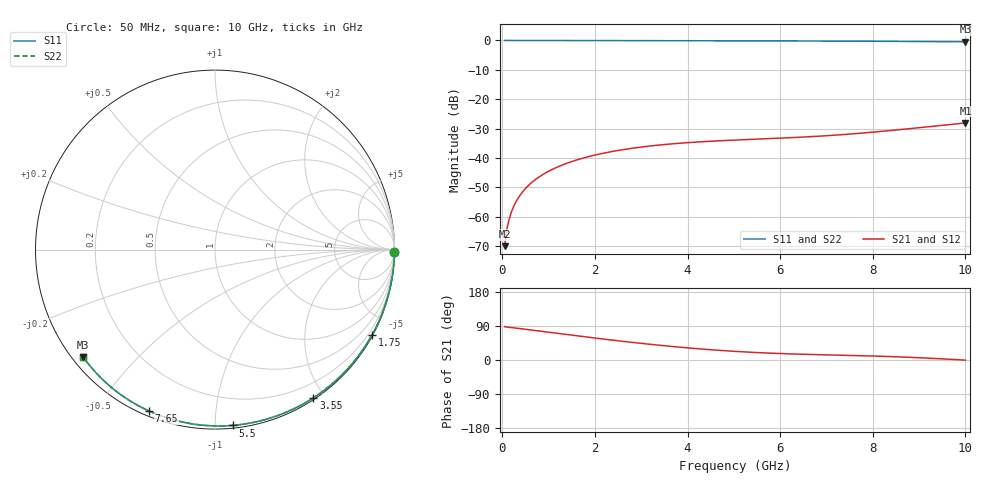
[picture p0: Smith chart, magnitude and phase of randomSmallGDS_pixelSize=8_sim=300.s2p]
! freq	dB(S11)	phase(S11)	dB(S12)	phase(S12)
!  dB(S21)	phase(S21)	dB(S22)	phase(S22)
!S-par simulation data
#  GHz  S  DB  R 50
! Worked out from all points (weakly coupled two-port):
!   200 points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, 50 MHz to 10 GHz, reference 50 ohm
!   highest |S21| = -28.06 dB at 10 GHz (marker M1); lowest = -70.0 dB at 50 MHz (marker M2)
!   lowest |S11| = -0.5 dB at 10 GHz (marker M3), VSWR 37.15, Z = 1.52 - j17.8 ohm
!   |S11| at or under -10 dB: nowhere
!   |S22| runs from -0.5 to 0.0 dB; largest |S21 - S12| = 0
!   S11 on the Smith chart (normalised r, x): 50 MHz: open; 1.75 GHz: 0.03, -3.93; 3.55 GHz: 0.02, -1.86; 5.5 GHz: 0.02, -1.11; 7.65 GHz: 0.02, -0.67; 10 GHz: 0.03, -0.36
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0.05  -0.00 -0.8  -69.97 88.0  -69.97 88.0  -0.00 -0.8
0.1  -0.00 -1.7  -64.08 86.8  -64.08 86.8  -0.00 -1.7
0.15  -0.00 -2.5  -60.65 86.1  -60.65 86.1  -0.00 -2.5
0.2  -0.00 -3.3  -58.21 85.4  -58.21 85.4  -0.00 -3.3
0.25  -0.00 -4.2  -56.30 84.8  -56.30 84.8  -0.00 -4.2
0.35  -0.00 -5.8  -53.42 83.4  -53.42 83.4  -0.00 -5.8
0.5  -0.01 -8.3  -50.37 81.2  -50.37 81.2  -0.01 -8.3
0.7  -0.01 -11.6  -47.50 78.1  -47.50 78.1  -0.01 -11.6
1  -0.02 -16.5  -44.49 73.4  -44.49 73.4  -0.02 -16.5
1.35  -0.03 -22.1  -42.03 67.9  -42.03 67.9  -0.03 -22.1
1.75  -0.04 -28.6  -39.98 61.7  -39.98 61.7  -0.04 -28.6
2.5  -0.05 -40.4  -37.41 50.7  -37.41 50.7  -0.05 -40.4
3.4  -0.07 -54.2  -35.55 38.8  -35.55 38.8  -0.07 -54.2
3.55  -0.08 -56.4  -35.32 37.0  -35.32 37.0  -0.08 -56.4
4.3  -0.10 -67.4  -34.45 29.0  -34.45 29.0  -0.10 -67.4
5.05  -0.12 -78.1  -33.85 22.6  -33.85 22.6  -0.12 -78.1
5.5  -0.14 -84.3  -33.56 19.6  -33.56 19.6  -0.14 -84.2
6.7  -0.19 -100.1  -32.69 14.4  -32.69 14.4  -0.19 -100.1
7.65  -0.25 -112.2  -31.66 11.7  -31.66 11.7  -0.25 -112.2
8.35  -0.31 -120.8  -30.68 9.2  -30.68 9.2  -0.31 -120.8
9.2  -0.38 -131.1  -29.35 4.9  -29.35 4.9  -0.38 -131.1
10  -0.47 -140.7  -28.06 -0.4  -28.06 -0.4  -0.47 -140.7
